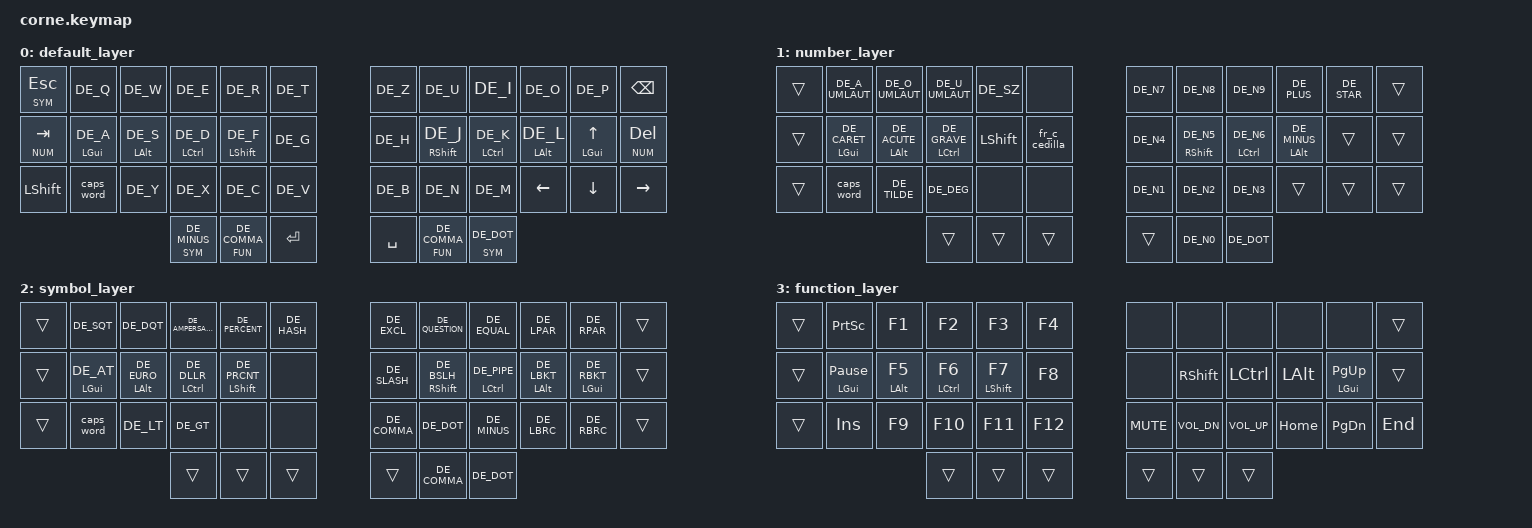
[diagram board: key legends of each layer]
#include <behaviors.dtsi>
#include <dt-bindings/zmk/keys.h>
#include "keys_de.h"

#include "zmk-helpers/key-labels/42.h"

// https://github.com/urob/zmk-config

#include "zmk-helpers/helper.h"
#include "zmk-helpers/unicode-chars/currency.dtsi"
#include "zmk-helpers/unicode-chars/german.dtsi"
#include "zmk-helpers/unicode-chars/french.dtsi"

#define ___ &trans

#define DEF 0
#define NUM 1
#define SYM 2
#define FUN 3

#define KEYS_L LT0 LT1 LT2 LT3 LT4 LT5 LM0 LM1 LM2 LM3 LM4 LM5 LB0 LB1 LB2 LB3 LB4 LB5  // left hand
#define KEYS_R RT0 RT1 RT2 RT3 RT4 RT5 RM0 RM1 RM2 RM3 RM4 RM5 RB0 RB1 RB2 RB3 RB4 RB5  // right hand
#define THUMBS LH2 LH1 LH0 RH0 RH1 RH2                                                  // thumbs
#define PINKY_L LT5 LM5 LB5
#define PINKY_R RT5 RM5 RB5


#undef COMBO_TERM
#define COMBO_TERM 50

#define TAPPING_TERM_MS 220
#define PRIOR_IDLE_MS 250

ZMK_HOLD_TAP(hml,
    flavor = "balanced";
    tapping-term-ms = <TAPPING_TERM_MS>;
    require-prior-idle-ms = <PRIOR_IDLE_MS>;
    hold-trigger-key-positions = <PINKY_L PINKY_R KEYS_R THUMBS>;
    hold-trigger-on-release;
    bindings = <&kp>, <&kp>;
)

ZMK_HOLD_TAP(hmr,
    flavor = "balanced";
    tapping-term-ms = <TAPPING_TERM_MS>;
    require-prior-idle-ms = <PRIOR_IDLE_MS>;
    hold-trigger-key-positions = <PINKY_L PINKY_R KEYS_L THUMBS>;
    hold-trigger-on-release;
    bindings = <&kp>, <&kp>;
)

&caps_word {
    continue-list = <UNDERSCORE MINUS DE_MINUS DE_COMMA DE_DOT>;
};

// combos
ZMK_COMBO(select_all,   &kp LC(DE_A),    LB4 LM4, ALL)
ZMK_COMBO(save,         &kp LC(DE_S),    LB3 LM3, ALL)
ZMK_COMBO(search,       &kp LC(DE_F),    LB1 LM1, ALL)

ZMK_COMBO(undo,         &kp LC(DE_Z),    RT0 RM0, ALL)
ZMK_COMBO(undo_2,       &kp LC(DE_Z),    RM5 RT5, ALL)
ZMK_COMBO(redo,         &kp LC(DE_Y),    LB3 LB4, ALL)

ZMK_COMBO(home,         &kp HOME,        RB3 RB4, ALL)
ZMK_COMBO(end,          &kp END,         RB4 RB5, ALL)

ZMK_COMBO(backspace,    &kp BSPC,        LT0 LT1, ALL)
ZMK_COMBO(delete,       &kp DELETE,      LM0 LM1, ALL)
ZMK_COMBO(ctrl_bspc,    &kp LC(BSPC),    RT4 RT5, ALL)
ZMK_COMBO(ctrl_del,     &kp LC(DELETE),  RM4 RM5, ALL)

ZMK_COMBO(ctrl_alt_del,     &kp LC(LA(DELETE)),   LT4 LT5, ALL)
ZMK_COMBO(alt_f4,           &kp LA(F4),           LT5 RT5, ALL)

ZMK_COMBO(cut,                  &kp LC(DE_X),       LB2 LB3, ALL)
ZMK_COMBO(copy,                 &kp LC(DE_C),       LB1 LB2, ALL)
ZMK_COMBO(paste,                &kp LC(DE_V),       LB0 LB1, ALL)
ZMK_COMBO(paste_unformatted,    &kp LA(LC(DE_V)),   LB0 LB2, ALL)

// ZMK_COMBO(lock_screen,  &kp LG(DE_L), RM2 RM3, ALL)

// jetbrains
ZMK_COMBO(ctrl_q,       &kp LC(DE_Q),       LM4 LT4, ALL)
ZMK_COMBO(ctrl_p,       &kp LC(DE_P),       RM4 RT4, ALL)
ZMK_COMBO(ctrl_d,       &kp LC(DE_D),       LM2 LB2, ALL)
ZMK_COMBO(ctrl_r,       &kp LC(DE_R),       LM1 LT1, ALL)
ZMK_COMBO(ctrl_t,       &kp LC(DE_T),       LM0 LT0, ALL)
ZMK_COMBO(ctrl_alt_o,   &kp LC(LA(DE_O)),   RM3 RT3, ALL)
ZMK_COMBO(ctrl_alt_l,   &kp LC(LA(DE_L)),   RB3 RM3, ALL)
ZMK_COMBO(comment,      &kp LC(KP_DIVIDE),  RB5 RM5, ALL)

ZMK_LAYER(default_layer,
//  ╭─────────────────┬───────────────────┬───────────────────┬───────────────────┬──────────────────┬─────────────────╮        ╭─────────────────┬───────────────────┬───────────────────┬───────────────────┬──────────────────┬─────────────────╮
        &lt SYM ESCAPE  &kp DE_Q            &kp DE_W            &kp DE_E            &kp DE_R            &kp DE_T                    &kp DE_Z        &kp DE_U            &kp DE_I            &kp DE_O            &kp DE_P            &kp BSPC
//  ├─────────────────┼───────────────────┼───────────────────┼───────────────────┼──────────────────┼─────────────────┤        ├─────────────────┼───────────────────┼───────────────────┼───────────────────┼──────────────────┼─────────────────┤
        &lt NUM TAB     &hml LGUI DE_A      &hml LALT DE_S      &hml LCTRL DE_D     &hml LSHFT DE_F     &kp DE_G                    &kp DE_H        &hmr RSHFT DE_J     &hmr LCTRL DE_K     &hmr LALT DE_L      &hmr LGUI UP_ARROW  &lt NUM DELETE
//  ├─────────────────┼───────────────────┼───────────────────┼───────────────────┼──────────────────┼─────────────────┤        ├─────────────────┼───────────────────┼───────────────────┼───────────────────┼──────────────────┼─────────────────┤
        &kp LSHFT       &caps_word          &kp DE_Y            &kp DE_X            &kp DE_C            &kp DE_V                    &kp DE_B        &kp DE_N            &kp DE_M            &kp LEFT_ARROW      &kp DOWN_ARROW      &kp RIGHT_ARROW
//  ╰─────────────────────────────────────────────────────────┼───────────────────┼──────────────────┼─────────────────┤        ├─────────────────┼───────────────────┼───────────────────┼───────────────────┼──────────────────┼─────────────────╯
                                                                &lt SYM DE_MINUS    &lt FUN DE_COMMA    &kp ENTER                   &kp SPACE       &lt FUN DE_COMMA    &lt SYM DE_DOT
//                                                            ╰───────────────────┴──────────────────┴─────────────────╯        ╰─────────────────┴───────────────────┴───────────────────╯
)

ZMK_LAYER(number_layer,
//  ╭─────────────────┬───────────────────┬───────────────────┬───────────────────┬──────────────────┬─────────────────╮        ╭─────────────────┬───────────────────┬───────────────────┬───────────────────┬──────────────────┬─────────────────╮
        ___             &kp DE_A_UMLAUT     &kp DE_O_UMLAUT     &kp DE_U_UMLAUT     &kp DE_SZ           &none                       &kp DE_N7       &kp DE_N8           &kp DE_N9           &kp DE_PLUS         &kp DE_STAR         ___
//  ├─────────────────┼───────────────────┼───────────────────┼───────────────────┼──────────────────┼─────────────────┤        ├─────────────────┼───────────────────┼───────────────────┼───────────────────┼──────────────────┼─────────────────┤
        ___             &hml LGUI DE_CARET  &hml LALT DE_ACUTE  &hml LCTRL DE_GRAVE &kp LSHFT           &fr_c_cedilla               &kp DE_N4       &hmr RSHFT DE_N5    &hmr LCTRL DE_N6    &hmr LALT DE_MINUS  ___                 ___
//  ├─────────────────┼───────────────────┼───────────────────┼───────────────────┼──────────────────┼─────────────────┤        ├─────────────────┼───────────────────┼───────────────────┼───────────────────┼──────────────────┼─────────────────┤
        ___             &caps_word          &kp DE_TILDE        &kp DE_DEG          &none               &none                       &kp DE_N1       &kp DE_N2           &kp DE_N3            ___                ___                 ___
//  ╰─────────────────────────────────────────────────────────┼───────────────────┼──────────────────┼─────────────────┤        ├─────────────────┼───────────────────┼───────────────────┼───────────────────┼──────────────────┼─────────────────╯
                                                                ___                 ___                 ___                         ___             &kp DE_N0           &kp DE_DOT
//                                                            ╰───────────────────┴──────────────────┴─────────────────╯        ╰─────────────────┴───────────────────┴───────────────────╯
)

ZMK_LAYER(symbol_layer,
//  ╭─────────────────┬───────────────────┬───────────────────┬───────────────────┬──────────────────┬─────────────────╮        ╭─────────────────┬───────────────────────┬───────────────────┬───────────────────┬──────────────────┬─────────────────╮
        ___             &kp DE_SQT          &kp DE_DQT          &kp DE_AMPERSAND    &kp DE_PERCENT      &kp DE_HASH                 &kp DE_EXCL     &kp DE_QUESTION         &kp DE_EQUAL        &kp DE_LPAR         &kp DE_RPAR         ___
//  ├─────────────────┼───────────────────┼───────────────────┼───────────────────┼──────────────────┼─────────────────┤        ├─────────────────┼───────────────────────┼───────────────────┼───────────────────┼──────────────────┼─────────────────┤
        ___             &hml LGUI DE_AT     &hml LALT DE_EURO   &hml LCTRL DE_DLLR  &hml LSHFT DE_PRCNT &none                       &kp DE_SLASH    &hmr RSHFT DE_BSLH      &hmr LCTRL DE_PIPE  &hmr LALT DE_LBKT   &hmr LGUI DE_RBKT   ___
//  ├─────────────────┼───────────────────┼───────────────────┼───────────────────┼──────────────────┼─────────────────┤        ├─────────────────┼───────────────────────┼───────────────────┼───────────────────┼──────────────────┼─────────────────┤
        ___             &caps_word          &kp DE_LT           &kp DE_GT           &none               &none                       &kp DE_COMMA    &kp DE_DOT              &kp DE_MINUS        &kp DE_LBRC         &kp DE_RBRC         ___
//  ╰─────────────────────────────────────────────────────────┼───────────────────┼──────────────────┼─────────────────┤        ├─────────────────┼───────────────────────┼───────────────────┼───────────────────┼──────────────────┼─────────────────╯
                                                                ___                 ___                 ___                         ___             &kp DE_COMMA            &kp DE_DOT
//                                                            ╰───────────────────┴──────────────────┴─────────────────╯        ╰─────────────────┴───────────────────────┴───────────────────╯
)

ZMK_LAYER(function_layer,
//  ╭─────────────────┬───────────────────────┬───────────────────┬───────────────┬──────────────────┬─────────────────╮        ╭─────────────────┬───────────────────┬───────────────────┬───────────────────┬──────────────────┬─────────────────╮
        ___             &kp PSCRN               &kp F1              &kp F2          &kp F3              &kp F4                      &none           &none               &none               &none               &none               ___
//  ├─────────────────┼───────────────────────┼───────────────────┼───────────────┼──────────────────┼─────────────────┤        ├─────────────────┼───────────────────┼───────────────────┼───────────────────┼──────────────────┼─────────────────┤
        ___             &hml LGUI PAUSE_BREAK   &hml LALT F5        &hml LCTRL F6   &hml LSHFT F7       &kp F8                      &none           &kp RSHIFT          &kp LCTRL           &kp LALT            &hmr LGUI PG_UP      ___
//  ├─────────────────┼───────────────────────┼───────────────────┼───────────────┼──────────────────┼─────────────────┤        ├─────────────────┼───────────────────┼───────────────────┼───────────────────┼──────────────────┼─────────────────┤
        ___             &kp INSERT              &kp F9              &kp F10         &kp F11             &kp F12                     &kp C_MUTE      &kp C_VOL_DN        &kp C_VOL_UP        &kp HOME            &kp PG_DN           &kp END
//  ╰─────────────────────────────────────────────────────────────┼───────────────┼──────────────────┼─────────────────┤        ├─────────────────┼───────────────────┼───────────────────┼───────────────────┼──────────────────┼─────────────────╯
                                                                    ___             ___                 ___                         ___             ___                 ___
//                                                                ╰───────────────┴──────────────────┴─────────────────╯        ╰─────────────────┴───────────────────┴───────────────────╯
)

&led_strip { chain-length = <27>; };

&nice_view_spi { cs-gpios = <&gpio1 1 GPIO_ACTIVE_HIGH>; };
